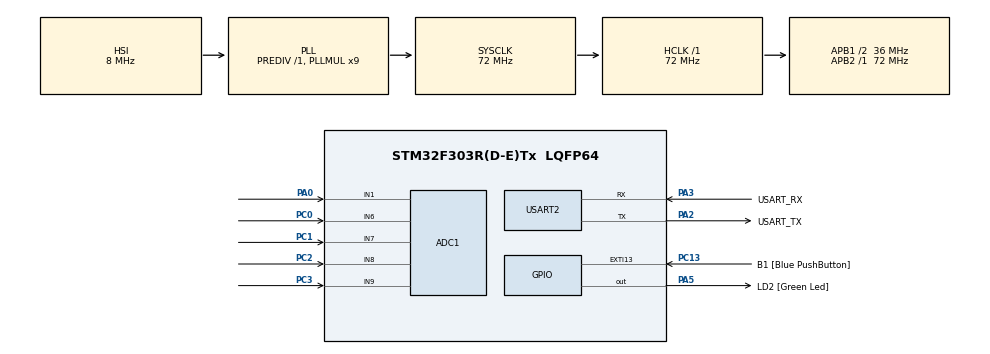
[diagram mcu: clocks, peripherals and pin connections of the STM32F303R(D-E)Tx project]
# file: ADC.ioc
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ADC1.Channel-0\#ChannelRegularConversion=ADC_CHANNEL_1
ADC1.ClockPrescaler=ADC_CLOCK_SYNC_PCLK_DIV1
ADC1.ContinuousConvMode=ENABLE
ADC1.NbrOfConversionFlag=1
ADC1.Offset-0\#ChannelRegularConversion=0
ADC1.OffsetNumber-0\#ChannelRegularConversion=ADC_OFFSET_NONE
ADC1.Rank-0\#ChannelRegularConversion=1
ADC1.SamplingTime-0\#ChannelRegularConversion=ADC_SAMPLETIME_1CYCLE_5
ADC1.SequencerNbRanks=5
ADC1.master=1
Dma.ADC1.0.Direction=DMA_PERIPH_TO_MEMORY
Dma.ADC1.0.Instance=DMA1_Channel1
Dma.ADC1.0.MemDataAlignment=DMA_MDATAALIGN_HALFWORD
Dma.ADC1.0.MemInc=DMA_MINC_ENABLE
Dma.ADC1.0.Mode=DMA_CIRCULAR
Dma.ADC1.0.PeriphDataAlignment=DMA_PDATAALIGN_HALFWORD
Dma.ADC1.0.PeriphInc=DMA_PINC_DISABLE
Dma.ADC1.0.Priority=DMA_PRIORITY_LOW
Dma.Request0=ADC1
Mcu.Family=STM32F3
Mcu.Name=STM32F303R(D-E)Tx
Mcu.Package=LQFP64
NVIC.DMA1_Channel1_IRQn=true\:0\:0\:false\:false\:true\:false\:true\:true
NVIC.PriorityGroup=NVIC_PRIORITYGROUP_0
PA0.Mode=IN1-Single-Ended
PA0.Signal=ADC1_IN1
PA13.GPIO_Label=TMS
PA13.Mode=Serial_Wire
PA13.Signal=SYS_JTMS-SWDIO
PA14.GPIO_Label=TCK
PA14.Mode=Serial_Wire
PA14.Signal=SYS_JTCK-SWCLK
PA2.GPIO_Label=USART_TX
PA2.GPIO_Mode=GPIO_MODE_AF_PP
PA2.GPIO_PuPd=GPIO_NOPULL
PA2.GPIO_Speed=GPIO_SPEED_FREQ_LOW
PA2.Mode=Asynchronous
PA2.Signal=USART2_TX
PA3.GPIO_Label=USART_RX
PA3.GPIO_Mode=GPIO_MODE_AF_PP
PA3.GPIO_PuPd=GPIO_NOPULL
PA3.GPIO_Speed=GPIO_SPEED_FREQ_LOW
PA3.Mode=Asynchronous
PA3.Signal=USART2_RX
PA5.GPIO_Label=LD2 [Green Led]
PA5.GPIO_Mode=GPIO_MODE_OUTPUT_PP
PA5.GPIO_PuPd=GPIO_NOPULL
PA5.GPIO_Speed=GPIO_SPEED_FREQ_LOW
PA5.Signal=GPIO_Output
PB3.GPIO_Label=SWO
PB3.Signal=SYS_JTDO-TRACESWO
PC0.Signal=ADCx_IN6
PC1.Signal=ADCx_IN7
PC13.GPIO_Label=B1 [Blue PushButton]
PC13.GPIO_ModeDefaultEXTI=GPIO_MODE_IT_FALLING
PC13.Signal=GPXTI13
PC14-OSC32_IN.Mode=LSE-External-Oscillator
PC14-OSC32_IN.Signal=RCC_OSC32_IN
PC15-OSC32_OUT.Mode=LSE-External-Oscillator
PC15-OSC32_OUT.Signal=RCC_OSC32_OUT
PC2.Signal=ADCx_IN8
PC3.Signal=ADCx_IN9
PF0-OSC_IN.Mode=HSE-External-Clock-Source
PF0-OSC_IN.Signal=RCC_OSC_IN
PF1-OSC_OUT.Signal=RCC_OSC_OUT
ProjectManager.HeapSize=0x200
ProjectManager.StackSize=0x400
ProjectManager.TargetToolchain=STM32CubeIDE
RCC.AHBFreq_Value=72000000
RCC.APB1CLKDivider=RCC_HCLK_DIV2
RCC.APB1Freq_Value=36000000
RCC.APB1TimFreq_Value=72000000
RCC.APB2Freq_Value=72000000
RCC.APB2TimFreq_Value=72000000
RCC.CortexFreq_Value=72000000
RCC.HCLKFreq_Value=72000000
RCC.HSE_VALUE=8000000
RCC.HSI_VALUE=8000000
RCC.PLLM=8
RCC.PLLMUL=RCC_PLL_MUL9
RCC.PLLN=336
RCC.PLLP=RCC_PLLP_DIV4
RCC.PLLQ=7
RCC.RCC_PLLsource_Clock_Source_FROM_HSE=RCC_HSE_PREDIV_DIV2
RCC.SYSCLKFreq_VALUE=72000000
RCC.SYSCLKSourceVirtual=RCC_SYSCLKSOURCE_PLLCLK
RCC.USBFreq_Value=72000000
SH.ADCx_IN6.0=ADC1_IN6,IN6-Single-Ended
SH.ADCx_IN7.0=ADC1_IN7,IN7-Single-Ended
SH.ADCx_IN8.0=ADC1_IN8,IN8-Single-Ended
SH.ADCx_IN9.0=ADC1_IN9,IN9-Single-Ended
USART2.VirtualMode-Asynchronous=VM_ASYNC
board=NUCLEO-F303RE

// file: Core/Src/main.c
/* USER CODE BEGIN Header */
/**
  ******************************************************************************
  * @file           : main.c
  * @brief          : Main program body
  ******************************************************************************
  * @attention
  *
  * Copyright (c) 2024 STMicroelectronics.
  * All rights reserved.
  *
  * This software is licensed under terms that can be found in the LICENSE file
  * in the root directory of this software component.
  * If no LICENSE file comes with this software, it is provided AS-IS.
  *
  ******************************************************************************
  */
/* USER CODE END Header */
#include "main.h"

/* USER CODE BEGIN Includes */
#include "stdio.h"
#include "string.h"
/* USER CODE END Includes */

/* USER CODE BEGIN PD */
#define ADC_CHANNEL_COUNT 5
/* USER CODE END PD */

ADC_HandleTypeDef hadc1;
DMA_HandleTypeDef hdma_adc1;

UART_HandleTypeDef huart2;

/* USER CODE BEGIN PV */
uint32_t adc_values[ADC_CHANNEL_COUNT];
float voltages[ADC_CHANNEL_COUNT];
char uart_buffer[50];
/* USER CODE END PV */

void SystemClock_Config(void);
static void MX_GPIO_Init(void);
static void MX_DMA_Init(void);
static void MX_USART2_UART_Init(void);
static void MX_ADC1_Init(void);
/* USER CODE BEGIN PFP */
void send_adc_data_over_uart(void);
/* USER CODE END PFP */

int main(void)
{

  /* MCU Configuration--------------------------------------------------------*/

  /* Reset of all peripherals, Initializes the Flash interface and the Systick. */
  HAL_Init();

  /* Configure the system clock */
  SystemClock_Config();

  /* Initialize all configured peripherals */
  MX_GPIO_Init();
  MX_DMA_Init();
  MX_USART2_UART_Init();
  MX_ADC1_Init();
  /* USER CODE BEGIN 2 */
  HAL_ADC_Start_DMA(&hadc1, adc_values, ADC_CHANNEL_COUNT);
  /* USER CODE END 2 */

  /* Infinite loop */
  while (1)
  {

    /* USER CODE BEGIN 3 */
	 HAL_Delay(500);
	 send_adc_data_over_uart();
  }
  /* USER CODE END 3 */
}

void SystemClock_Config(void)
{
  RCC_OscInitTypeDef RCC_OscInitStruct = {0};
  RCC_ClkInitTypeDef RCC_ClkInitStruct = {0};
  RCC_PeriphCLKInitTypeDef PeriphClkInit = {0};

  /** Initializes the RCC Oscillators according to the specified parameters
  * in the RCC_OscInitTypeDef structure.
  */
  RCC_OscInitStruct.OscillatorType = RCC_OSCILLATORTYPE_HSI;
  RCC_OscInitStruct.HSIState = RCC_HSI_ON;
  RCC_OscInitStruct.HSICalibrationValue = RCC_HSICALIBRATION_DEFAULT;
  RCC_OscInitStruct.PLL.PLLState = RCC_PLL_ON;
  RCC_OscInitStruct.PLL.PLLSource = RCC_PLLSOURCE_HSI;
  RCC_OscInitStruct.PLL.PLLMUL = RCC_PLL_MUL9;
  RCC_OscInitStruct.PLL.PREDIV = RCC_PREDIV_DIV1;
  if (HAL_RCC_OscConfig(&RCC_OscInitStruct) != HAL_OK)
  {
    Error_Handler();
  }

  /** Initializes the CPU, AHB and APB buses clocks
  */
  RCC_ClkInitStruct.ClockType = RCC_CLOCKTYPE_HCLK|RCC_CLOCKTYPE_SYSCLK
                              |RCC_CLOCKTYPE_PCLK1|RCC_CLOCKTYPE_PCLK2;
  RCC_ClkInitStruct.SYSCLKSource = RCC_SYSCLKSOURCE_PLLCLK;
  RCC_ClkInitStruct.AHBCLKDivider = RCC_SYSCLK_DIV1;
  RCC_ClkInitStruct.APB1CLKDivider = RCC_HCLK_DIV2;
  RCC_ClkInitStruct.APB2CLKDivider = RCC_HCLK_DIV1;

  if (HAL_RCC_ClockConfig(&RCC_ClkInitStruct, FLASH_LATENCY_2) != HAL_OK)
  {
    Error_Handler();
  }
  PeriphClkInit.PeriphClockSelection = RCC_PERIPHCLK_USART2;
  PeriphClkInit.Usart2ClockSelection = RCC_USART2CLKSOURCE_PCLK1;
  if (HAL_RCCEx_PeriphCLKConfig(&PeriphClkInit) != HAL_OK)
  {
    Error_Handler();
  }
}

static void MX_ADC1_Init(void)
{

  ADC_MultiModeTypeDef multimode = {0};
  ADC_ChannelConfTypeDef sConfig = {0};

  /** Common config
  */
  hadc1.Instance = ADC1;
  hadc1.Init.ClockPrescaler = ADC_CLOCK_SYNC_PCLK_DIV1;
  hadc1.Init.Resolution = ADC_RESOLUTION_12B;
  hadc1.Init.ScanConvMode = ADC_SCAN_DISABLE;
  hadc1.Init.ContinuousConvMode = ENABLE;
  hadc1.Init.DiscontinuousConvMode = DISABLE;
  hadc1.Init.ExternalTrigConvEdge = ADC_EXTERNALTRIGCONVEDGE_NONE;
  hadc1.Init.ExternalTrigConv = ADC_SOFTWARE_START;
  hadc1.Init.DataAlign = ADC_DATAALIGN_RIGHT;
  hadc1.Init.NbrOfConversion = 1;
  hadc1.Init.DMAContinuousRequests = DISABLE;
  hadc1.Init.EOCSelection = ADC_EOC_SINGLE_CONV;
  hadc1.Init.LowPowerAutoWait = DISABLE;
  hadc1.Init.Overrun = ADC_OVR_DATA_OVERWRITTEN;
  if (HAL_ADC_Init(&hadc1) != HAL_OK)
  {
    Error_Handler();
  }

  /** Configure the ADC multi-mode
  */
  multimode.Mode = ADC_MODE_INDEPENDENT;
  if (HAL_ADCEx_MultiModeConfigChannel(&hadc1, &multimode) != HAL_OK)
  {
    Error_Handler();
  }

  /** Configure Regular Channel
  */
  sConfig.Channel = ADC_CHANNEL_1;
  sConfig.Rank = ADC_REGULAR_RANK_1;
  sConfig.SingleDiff = ADC_SINGLE_ENDED;
  sConfig.SamplingTime = ADC_SAMPLETIME_1CYCLE_5;
  sConfig.OffsetNumber = ADC_OFFSET_NONE;
  sConfig.Offset = 0;
  if (HAL_ADC_ConfigChannel(&hadc1, &sConfig) != HAL_OK)
  {
    Error_Handler();
  }

}

static void MX_USART2_UART_Init(void)
{

  huart2.Instance = USART2;
  huart2.Init.BaudRate = 38400;
  huart2.Init.WordLength = UART_WORDLENGTH_8B;
  huart2.Init.StopBits = UART_STOPBITS_1;
  huart2.Init.Parity = UART_PARITY_NONE;
  huart2.Init.Mode = UART_MODE_TX_RX;
  huart2.Init.HwFlowCtl = UART_HWCONTROL_NONE;
  huart2.Init.OverSampling = UART_OVERSAMPLING_16;
  huart2.Init.OneBitSampling = UART_ONE_BIT_SAMPLE_DISABLE;
  huart2.AdvancedInit.AdvFeatureInit = UART_ADVFEATURE_NO_INIT;
  if (HAL_UART_Init(&huart2) != HAL_OK)
  {
    Error_Handler();
  }

}

static void MX_DMA_Init(void)
{

  /* DMA controller clock enable */
  __HAL_RCC_DMA1_CLK_ENABLE();

  /* DMA interrupt init */
  /* DMA1_Channel1_IRQn interrupt configuration */
  HAL_NVIC_SetPriority(DMA1_Channel1_IRQn, 0, 0);
  HAL_NVIC_EnableIRQ(DMA1_Channel1_IRQn);

}

static void MX_GPIO_Init(void)
{
  GPIO_InitTypeDef GPIO_InitStruct = {0};

  /* GPIO Ports Clock Enable */
  __HAL_RCC_GPIOC_CLK_ENABLE();
  __HAL_RCC_GPIOF_CLK_ENABLE();
  __HAL_RCC_GPIOA_CLK_ENABLE();
  __HAL_RCC_GPIOB_CLK_ENABLE();

  /*Configure GPIO pin Output Level */
  HAL_GPIO_WritePin(LD2_GPIO_Port, LD2_Pin, GPIO_PIN_RESET);

  /*Configure GPIO pin : B1_Pin */
  GPIO_InitStruct.Pin = B1_Pin;
  GPIO_InitStruct.Mode = GPIO_MODE_IT_FALLING;
  GPIO_InitStruct.Pull = GPIO_NOPULL;
  HAL_GPIO_Init(B1_GPIO_Port, &GPIO_InitStruct);

  /*Configure GPIO pin : LD2_Pin */
  GPIO_InitStruct.Pin = LD2_Pin;
  GPIO_InitStruct.Mode = GPIO_MODE_OUTPUT_PP;
  GPIO_InitStruct.Pull = GPIO_NOPULL;
  GPIO_InitStruct.Speed = GPIO_SPEED_FREQ_LOW;
  HAL_GPIO_Init(LD2_GPIO_Port, &GPIO_InitStruct);

}

/* USER CODE BEGIN 4 */
void send_adc_data_over_uart(void) {
    float Vref = 3.3;
    for (int i = 0; i < ADC_CHANNEL_COUNT; i++) {
        voltages[i] = (adc_values[i] * Vref) / 4095.0;
        int len = sprintf(uart_buffer, "/* %.2f */\r\n", voltages[i]);
        HAL_UART_Transmit(&huart2, (uint8_t*)uart_buffer, len, HAL_MAX_DELAY);
    }
}
/* USER CODE END 4 */

void Error_Handler(void)
{
  __disable_irq();
  while (1)
  {
  }
}
